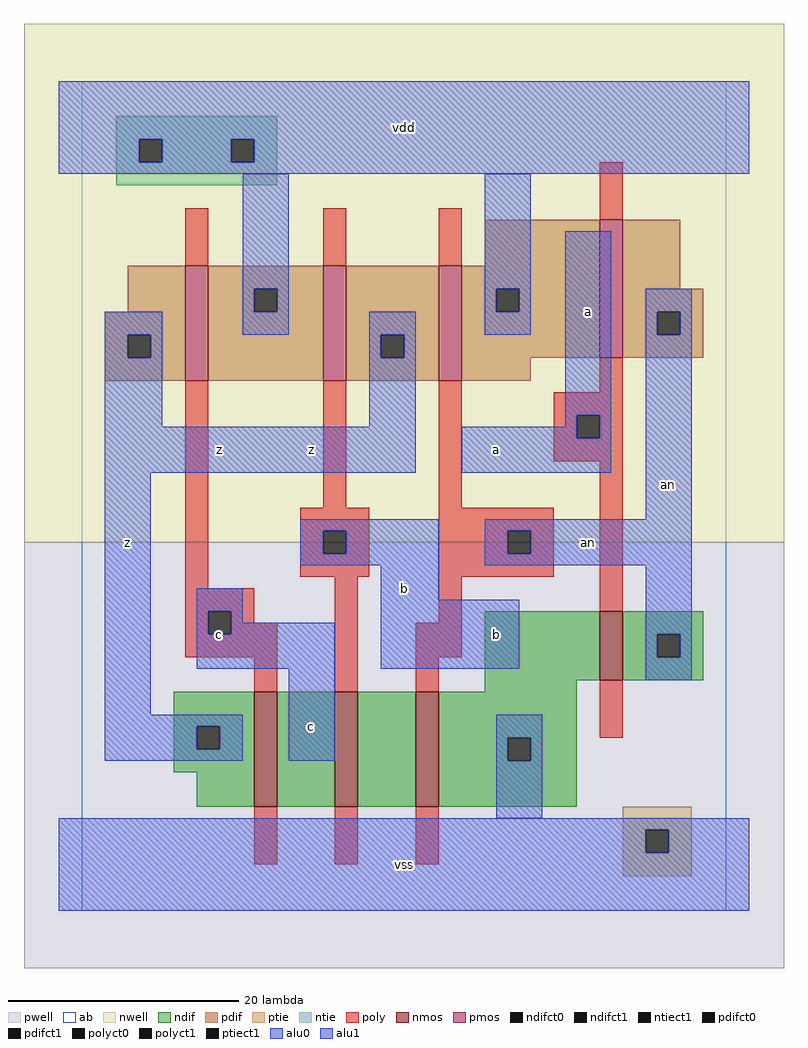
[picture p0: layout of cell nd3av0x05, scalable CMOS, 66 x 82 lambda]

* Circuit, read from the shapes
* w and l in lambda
.subckt nd3av0x05 a an b c vdd vss z
M1 n1 c z vss nfet w=10 l=2
M2 n2 b n1 vss nfet w=10 l=2
M3 vss an n2 vss nfet w=10 l=2
M4 an a vss vss nfet w=6 l=2
M5 vdd c z vdd pfet w=10 l=2
M6 z b vdd vdd pfet w=10 l=2
M7 vdd an z vdd pfet w=10 l=2
M8 an a vdd vdd pfet w=12 l=2
.ends

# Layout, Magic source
magic
tech scmos
<< ab >>
rect 0 0 56 72
<< nwell >>
rect -5 32 61 77
<< pwell >>
rect -5 -5 61 32
<< poly >>
rect 9 56 11 61
rect 21 56 23 61
rect 31 56 33 61
rect 45 60 47 65
rect 9 28 11 46
rect 21 35 23 46
rect 31 35 33 46
rect 45 45 47 48
rect 41 43 47 45
rect 41 41 43 43
rect 45 41 47 43
rect 41 39 47 41
rect 19 33 25 35
rect 19 31 21 33
rect 23 31 25 33
rect 19 29 25 31
rect 31 33 41 35
rect 31 31 37 33
rect 39 31 41 33
rect 31 29 41 31
rect 9 26 15 28
rect 9 24 11 26
rect 13 25 15 26
rect 13 24 17 25
rect 9 22 17 24
rect 15 19 17 22
rect 22 19 24 29
rect 31 25 33 29
rect 45 26 47 39
rect 29 22 33 25
rect 29 19 31 22
rect 45 15 47 20
rect 15 4 17 9
rect 22 4 24 9
rect 29 4 31 9
<< ndif >>
rect 35 20 45 26
rect 47 24 54 26
rect 47 22 50 24
rect 52 22 54 24
rect 47 20 54 22
rect 35 19 43 20
rect 8 16 15 19
rect 8 14 10 16
rect 12 14 15 16
rect 8 12 15 14
rect 10 9 15 12
rect 17 9 22 19
rect 24 9 29 19
rect 31 15 43 19
rect 31 13 37 15
rect 39 13 43 15
rect 31 9 43 13
<< pdif >>
rect 35 56 45 60
rect 4 52 9 56
rect 2 50 9 52
rect 2 48 4 50
rect 6 48 9 50
rect 2 46 9 48
rect 11 54 21 56
rect 11 52 15 54
rect 17 52 21 54
rect 11 46 21 52
rect 23 50 31 56
rect 23 48 26 50
rect 28 48 31 50
rect 23 46 31 48
rect 33 54 45 56
rect 33 52 36 54
rect 38 52 45 54
rect 33 48 45 52
rect 47 54 52 60
rect 47 52 54 54
rect 47 50 50 52
rect 52 50 54 52
rect 47 48 54 50
rect 33 46 39 48
<< alu1 >>
rect -2 67 58 72
rect -2 65 5 67
rect 7 65 13 67
rect 15 65 58 67
rect -2 64 58 65
rect 2 50 7 52
rect 25 50 29 52
rect 2 48 4 50
rect 6 48 7 50
rect 2 42 7 48
rect 25 48 26 50
rect 28 48 29 50
rect 25 42 29 48
rect 42 43 46 59
rect 42 42 43 43
rect 2 38 29 42
rect 33 41 43 42
rect 45 41 46 43
rect 33 38 46 41
rect 2 17 6 38
rect 19 33 31 34
rect 19 31 21 33
rect 23 31 31 33
rect 19 30 31 31
rect 10 26 14 28
rect 10 24 11 26
rect 13 25 14 26
rect 26 27 31 30
rect 13 24 22 25
rect 10 21 22 24
rect 26 21 38 27
rect 2 16 14 17
rect 2 14 10 16
rect 12 14 14 16
rect 2 13 14 14
rect 18 13 22 21
rect -2 7 58 8
rect -2 5 49 7
rect 51 5 58 7
rect -2 0 58 5
<< ptie >>
rect 47 7 53 9
rect 47 5 49 7
rect 51 5 53 7
rect 47 3 53 5
<< ntie >>
rect 3 67 17 69
rect 3 65 5 67
rect 7 65 13 67
rect 15 65 17 67
rect 3 63 17 65
<< nmos >>
rect 45 20 47 26
rect 15 9 17 19
rect 22 9 24 19
rect 29 9 31 19
<< pmos >>
rect 9 46 11 56
rect 21 46 23 56
rect 31 46 33 56
rect 45 48 47 60
<< polyct0 >>
rect 37 31 39 33
<< polyct1 >>
rect 43 41 45 43
rect 21 31 23 33
rect 11 24 13 26
<< ndifct0 >>
rect 50 22 52 24
rect 37 13 39 15
<< ndifct1 >>
rect 10 14 12 16
<< ntiect1 >>
rect 5 65 7 67
rect 13 65 15 67
<< ptiect1 >>
rect 49 5 51 7
<< pdifct0 >>
rect 15 52 17 54
rect 36 52 38 54
rect 50 50 52 52
<< pdifct1 >>
rect 4 48 6 50
rect 26 48 28 50
<< alu0 >>
rect 14 54 18 64
rect 14 52 15 54
rect 17 52 18 54
rect 35 54 39 64
rect 35 52 36 54
rect 38 52 39 54
rect 14 50 18 52
rect 35 50 39 52
rect 49 52 53 54
rect 49 50 50 52
rect 52 50 53 52
rect 49 34 53 50
rect 35 33 53 34
rect 35 31 37 33
rect 39 31 53 33
rect 35 30 53 31
rect 49 24 53 30
rect 49 22 50 24
rect 52 22 53 24
rect 49 20 53 22
rect 36 15 40 17
rect 36 13 37 15
rect 39 13 40 15
rect 36 8 40 13
<< labels >>
rlabel alu0 44 32 44 32 6 an
rlabel alu0 51 37 51 37 6 an
rlabel alu1 4 32 4 32 6 z
rlabel alu1 20 16 20 16 6 c
rlabel alu1 12 24 12 24 6 c
rlabel alu1 20 40 20 40 6 z
rlabel alu1 12 40 12 40 6 z
rlabel alu1 28 4 28 4 6 vss
rlabel alu1 28 28 28 28 6 b
rlabel alu1 36 24 36 24 6 b
rlabel alu1 36 40 36 40 6 a
rlabel alu1 28 68 28 68 6 vdd
rlabel alu1 44 52 44 52 6 a
<< end >>
